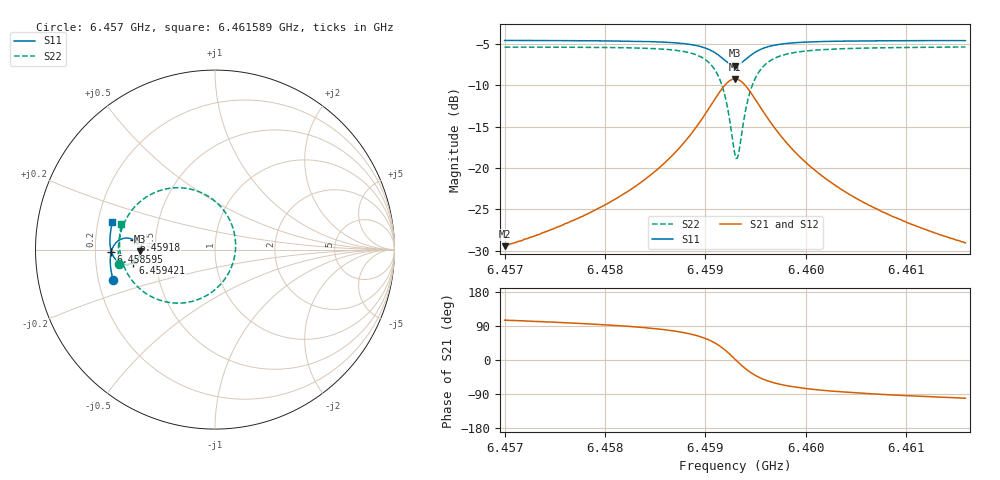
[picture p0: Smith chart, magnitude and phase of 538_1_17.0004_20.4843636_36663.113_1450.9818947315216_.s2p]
#  HZ  S  RI  R  50.00
! Rohde & Schwarz Vector Network Analyzer
! Rohde-Schwarz,ZNB20-2Port,1311601062101988,3.16
! Created: UTC 3/20/2024, 11:16:11 PM
! freq[Hz]  re:S11  im:S11  re:S21  im:S21  re:S12  im:S12  re:S22  im:S22
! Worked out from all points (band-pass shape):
!   401 points, 6.457 GHz to 6.461589 GHz, reference 50 ohm
!   highest |S21| = -9.20 dB at 6.459295 GHz (marker M1); lowest = -29.5 dB at 6.457 GHz (marker M2)
!   |S21| within 3 dB of the highest: 6.459065 GHz to 6.459524 GHz (459.1 kHz wide, 0.00711 % of centre)
!   lowest |S11| = -7.6 dB at 6.459295 GHz (marker M3), VSWR 2.43, Z = 20.5 - j0.467 ohm
!   |S11| at or under -10 dB: nowhere
!   |S22| runs from -18.8 to -5.3 dB; largest |S21 - S12| = 0.014
!   S11 on the Smith chart (normalised r, x): 6.457 GHz: 0.26, -0.14; 6.458595 GHz: 0.27, -0.01; 6.45918 GHz: 0.37, +0.05; 6.459421 GHz: 0.37, -0.07; 6.461589 GHz: 0.26, +0.12
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6.4570004e9  -0.5672 -0.1704  -0.00879 0.0325  -0.00708 0.0325  -0.5331 -0.0829
6.4577689e9  -0.581 -0.1032  -0.00551 0.0505  -0.00298 0.05  -0.5382 0.00734
6.4582048e9  -0.5837 -0.0594  0.000884 0.0708  0.00413 0.0694  -0.5293 0.077
6.4585375e9  -0.5799 -0.0192  0.0145 0.099  0.0186 0.0962  -0.5039 0.1527
6.4585948e9  -0.578 -0.0115  0.0189 0.1059  0.0229 0.1027  -0.4958 0.1694
6.4588013e9  -0.5649 0.0206  0.0466 0.1383  0.0507 0.1334  -0.4438 0.242
6.4589504e9  -0.5421 0.047  0.0921 0.1688  0.0952 0.1621  -0.3597 0.3063
6.459088e9  -0.4983 0.0643  0.1795 0.1853  0.1804 0.1777  -0.1998 0.3447
6.4591798e9  -0.4535 0.0539  0.2695 0.1537  0.2698 0.148  -0.0328 0.2938
6.4592486e9  -0.4245 0.0218  0.3301 0.0813  0.3323 0.0762  0.0828 0.1636
6.4592945e9  -0.4176 -0.00939  0.3464 0.0134  0.3501 0.00647  0.1149 0.0359
6.459306e9  -0.4181 -0.0173  0.3462 -0.00445  0.35 -0.012  0.1145 0.00223
6.4593289e9  -0.4216 -0.033  0.3406 -0.0394  0.3444 -0.0483  0.1031 -0.0638
6.4593748e9  -0.4373 -0.059  0.3117 -0.0993  0.314 -0.1112  0.0449 -0.1773
6.4594207e9  -0.4593 -0.0755  0.2693 -0.1403  0.2687 -0.1537  -0.0408 -0.2524
6.4595125e9  -0.5029 -0.0822  0.1844 -0.1714  0.1783 -0.1829  -0.2106 -0.2982
6.4596616e9  -0.5468 -0.0618  0.0962 -0.1574  0.0877 -0.1637  -0.3788 -0.2482
6.4598222e9  -0.5683 -0.034  0.0512 -0.1292  0.0435 -0.1321  -0.4593 -0.1757
6.460063e9  -0.581 0.00152  0.0223 -0.0976  0.0163 -0.0982  -0.5074 -0.0927
6.4603842e9  -0.5854 0.04  0.00678 -0.0719  0.00268 -0.0715  -0.5278 -0.0177
6.4608315e9  -0.5835 0.0852  -0.00155 -0.0521  -0.00442 -0.051  -0.5327 0.055
6.4615886e9  -0.5712 0.1522  -0.00674 -0.0347  -0.0083 -0.0338  -0.5211 0.1445
